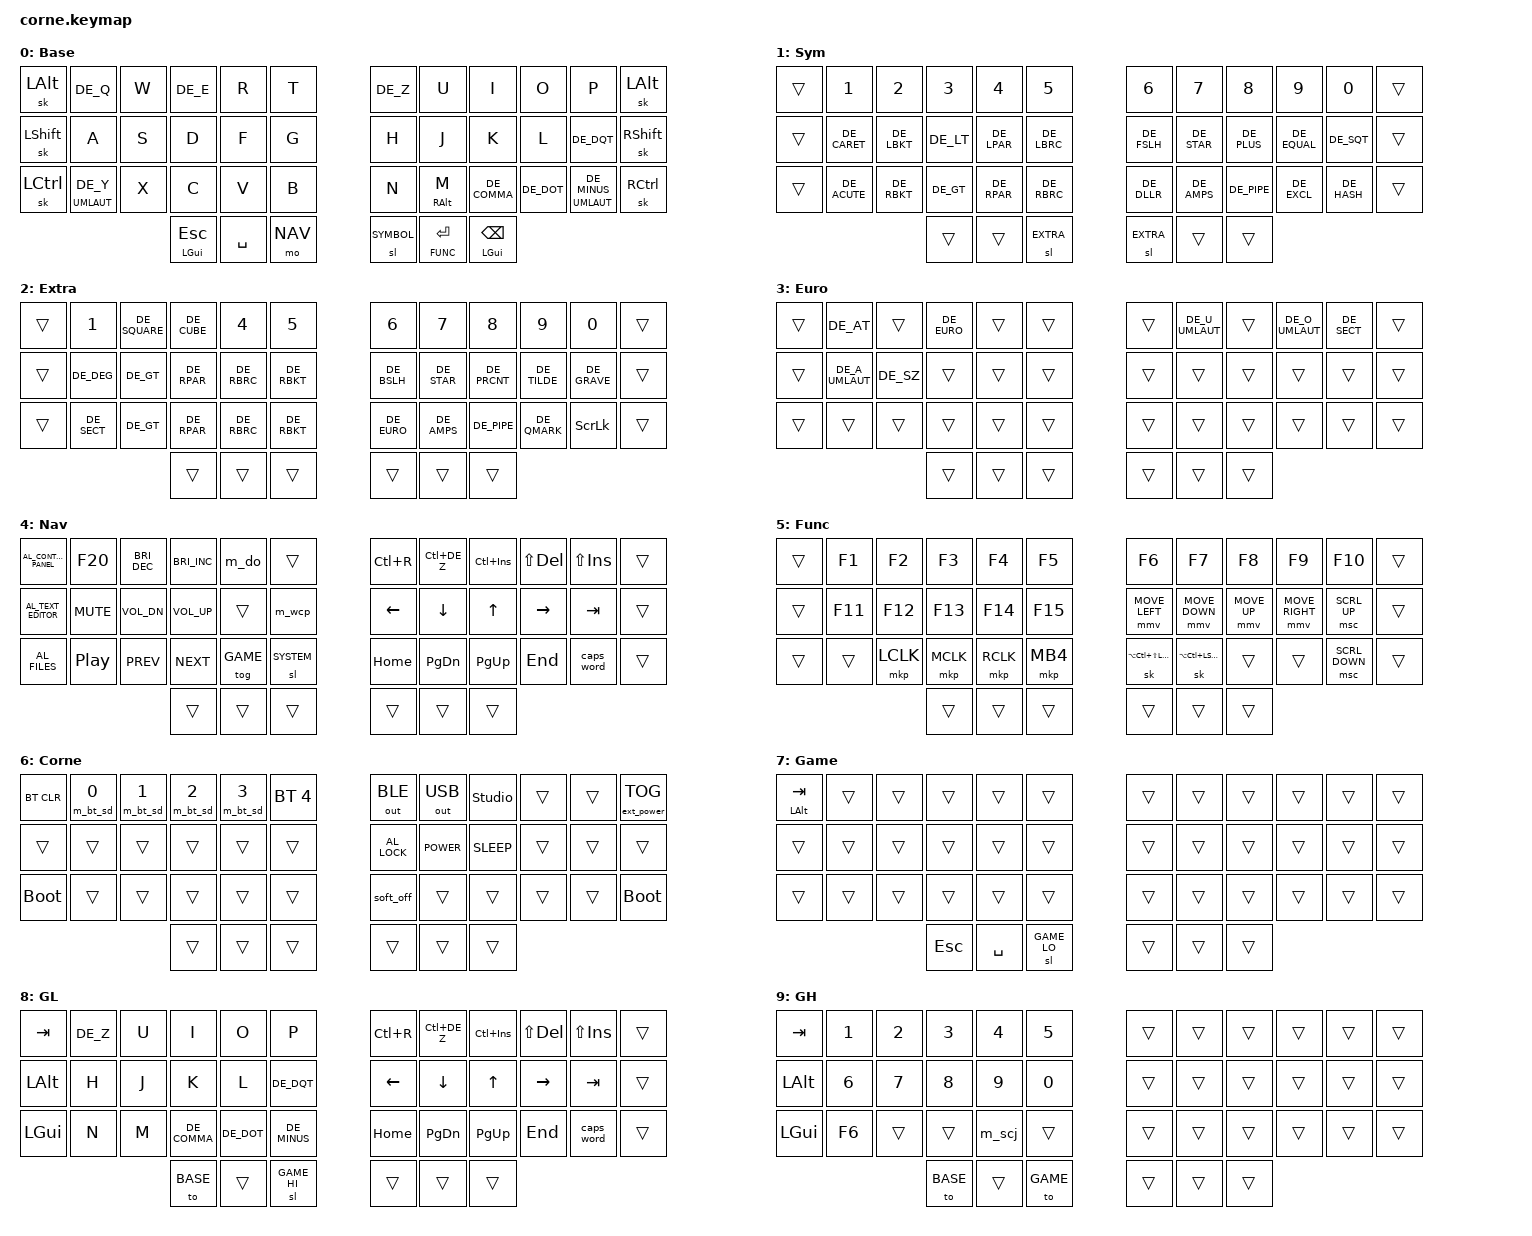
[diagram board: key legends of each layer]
/*
 * Copyright (c) 2023 Dafo with the golden Hair
 *
 * SPDX-License-Identifier: MIT
 */

#include <behaviors.dtsi>
#include <dt-bindings/zmk/keys.h>
#include <dt-bindings/zmk/bt.h>
#include <dt-bindings/zmk/ext_power.h>
#include <dt-bindings/zmk/outputs.h>
#include <dt-bindings/zmk/pointing.h>
#include "keys_de.h"

#define BASE 0
#define SYMBOL 1
#define EXTRA 2
#define UMLAUT 3
#define NAV 4
#define FUNC 5
#define MOUSE 6
#define SYSTEM 6
#define GAME 7
#define GAME_LO 8
#define GAME_HI 9 

#define HYPER LA(LC(LS(LGUI)))
#define MEH   LA(LC(LSHFT))

&sk {
    quick-release;
};
&sl {
    release-after-ms = <5000>;
};
&caps_word {
  continue-list = <DE_MINUS BSPC DEL>;
};

/ {
        behaviors {
            hs: home_row_mod_shift {
                  //label = "HOMEROW_MOD_SHIFT";
                  compatible = "zmk,behavior-hold-tap";
                  #binding-cells = <2>;
                  tapping-term-ms = <150>;
                  flavor = "tap-preferred";
                  bindings = <&kp>, <&kp>;
            };
            hm: home_row_mods {
                  compatible = "zmk,behavior-hold-tap";
                  label = "HOMEROW_MODS";
                  #binding-cells = <2>;
                  tapping-term-ms = <210>;
                  quick-tap-ms = <0>;
                  flavor = "tap-preferred";
                  bindings = <&kp>, <&kp>;
            };
            sm: hold_tap_sk_mo {
                  compatible = "zmk,behavior-hold-tap";
                  label = "HOLD_TAP_SK_MO";
                  #binding-cells = <2>;
                  tapping-term-ms = <300>;
                  bindings = <&mo>, <&sk>;
            };
        };
        macros {
            m_do: m_do {
               // label = "M_DOMAIN";
               compatible = "zmk,behavior-macro";
               #binding-cells = <0>;
               bindings
               = <&kp DE_E  &kp N6  &kp DE_Z  &kp N9  &kp R  &kp DE_DOT  &kp N  &kp DE_E  &kp T>
               ;
            };
            m_scj: m_scj {
               // label = "M_SATIS_CROUCH_JUMP";
               compatible = "zmk,behavior-macro";
               #binding-cells = <0>;
               bindings
               = <&macro_press &kp C>
               , <&macro_tap_time 300>
               , <&macro_tap &kp SPACE>
               , <&macro_wait_time 20>
               , <&macro_release &kp C>
               ;
            };
            m_wcp: m_wcp {
               label = "M_W_CHANGE_PHONE";
               compatible = "zmk,behavior-macro";
               #binding-cells = <0>;
               bindings 
               = <&macro_tap_time 120>
               , <&macro_tap &kp LGUI>
               , <&macro_tap &kp LC(LS(F12))>
               , <&macro_wait_time 150>
               , <&macro_tap &kp LG(N6)>
               ;
            };
            m_bt_sd: m_bt_sd {
               // label = "M_BT_SEL_AND_DISC";
               compatible = "zmk,behavior-macro-one-param";
               #binding-cells = <1>;
               bindings
               = <&macro_param_1to2>
               , <&bt BT_SEL MACRO_PLACEHOLDER>
               , <&macro_wait_time 200>
               , <&bt BT_DISC 4>
               ;
            };
        };
        keymap {
                compatible = "zmk,keymap";

                default_layer {
                    display-name = "Base";
// ---------------------------------------------------------------------------------------------
// | ALT       |  Q  |  W  |  E  |  R  |  T  | ### |  Z  |  U   |  I  |  O  |  P  | CAPS_WORD  |
// | TAB       |  A  |  S  |  D  |  F  |  G  | ### |  H  |  J   |  K  |  L  |  "  | sl SYMBOL  |
// | sl UMLAUT |  Y  |  X  |  C  |  V  |  B  | ### |  N  |  M   |  ,  |  .  |  -  | sl UMLAUT  |
//                         | BSP | SPC | LSH | ### | LCT | RET  | ESC |
                        bindings = <
   &sk LALT    &kp DE_Q         &kp W  &kp DE_E      &kp R        &kp T          &kp DE_Z    &kp U         &kp I          &kp O        &kp P                &sk LALT
   &sk LSHIFT  &kp A            &kp S  &kp D         &kp F        &kp G          &kp H       &kp J         &kp K          &kp L        &kp DE_DQT           &sk RSHFT
   &sk LCTRL   &lt UMLAUT DE_Y  &kp X  &kp C         &kp V        &kp B          &kp N       &hm RALT M    &kp DE_COMMA   &kp DE_DOT   &lt UMLAUT DE_MINUS  &sk RCTRL
                                       &hm LGUI ESC  &kp SPACE    &mo NAV        &sl SYMBOL  &lt FUNC RET  &hm LGUI BSPC
                        >;
                };
                symbols_layer {
                    display-name = "Sym";
// ------------------------------------------------------------------------------
// |    |  1  |  2  |  3  |  4  |  5  | ### |  6  |  7  |  8  |  9  |  0  |     |
// |    |  ^  |  [  |  <  |  (  |  {  | ### |  /  |  *  |  +  |  =  |  '  |     |
// |    |  ´  |  ]  |  >  |  )  |  }  | ### |  $  |  &  |  |  |  !  |  #  |     |
//                  | BSP | SPC | LSH | ### | LCT | RET | ESC |
                        bindings = <
   &trans  &kp N1        &kp N2       &kp N3     &kp N4        &kp N5             &kp N6       &kp N7       &kp N8       &kp N9        &kp N0       &trans
   &trans  &kp DE_CARET  &kp DE_LBKT  &kp DE_LT  &kp DE_LPAR   &kp DE_LBRC        &kp DE_FSLH  &kp DE_STAR  &kp DE_PLUS  &kp DE_EQUAL  &kp DE_SQT   &trans
   &trans  &kp DE_ACUTE  &kp DE_RBKT  &kp DE_GT  &kp DE_RPAR   &kp DE_RBRC        &kp DE_DLLR  &kp DE_AMPS  &kp DE_PIPE  &kp DE_EXCL   &kp DE_HASH  &trans
                                      &trans     &trans        &sl EXTRA          &sl EXTRA    &trans       &trans
                        >;
                };
                extra_layer {
                    display-name = "Extra";
// -----------------------------------------------------------------------------------
// |    |  1  |  ²  |  ³  |  4  |  5  | ### |  6  |  7  |  8  |  9  |  0           |     |
// |    |  °  |  <  |  )  |  {  |  ]  | ### |  \  |  *  |  %  |  ~  |  `           |     |
// |    |  §  |  >  |  )  |  }  |  ]  | ### |  €  |  µ  |  |  |  ?  |  ScrollLock  |     |
//                  | BSP | SPC | LSH | ### | LCT | RET | ESC |
                        bindings = <
   &trans  &kp N1       &kp DE_SQUARE &kp DE_CUBE  &kp N4       &kp N5             &kp N6       &kp N7       &kp N8        &kp N9        &kp N0        &trans
   &trans  &kp DE_DEG   &kp DE_GT     &kp DE_RPAR  &kp DE_RBRC  &kp DE_RBKT        &kp DE_BSLH  &kp DE_STAR  &kp DE_PRCNT  &kp DE_TILDE  &kp DE_GRAVE  &trans
   &trans  &kp DE_SECT  &kp DE_GT     &kp DE_RPAR  &kp DE_RBRC  &kp DE_RBKT        &kp DE_EURO  &kp DE_AMPS  &kp DE_PIPE   &kp DE_QMARK  &kp SLCK      &trans
                                      &trans       &trans       &trans             &trans       &trans       &trans
                        >;
                };
                umlaut_layer {
                    display-name = "Euro";
// --------------------------------------------------------------------------------
// |   |  @  |  @  |  €  |     |     | ### |     |  ü  |     |  ö  |  §  |      |
// |   |  ä  |  ß  |     |     |     | ### |     |     |     |     |     |      |
// |   |     |     |     |     |     | ### |     |     |     |     |     |      |
//                 | BSP | SPC | LSH | ### | LCT | RET | ESC |
                        bindings = <
   &trans  &kp DE_AT        &trans     &kp DE_EURO  &trans  &trans      &trans  &kp DE_U_UMLAUT  &trans   &kp DE_O_UMLAUT  &kp DE_SECT  &trans
   &trans  &kp DE_A_UMLAUT  &kp DE_SZ  &trans       &trans  &trans      &trans  &trans           &trans   &trans           &trans       &trans
   &trans  &trans           &trans     &trans       &trans  &trans      &trans  &trans           &trans   &trans           &trans       &trans
                                       &trans       &trans  &trans      &trans  &trans           &trans
                        >;
                };
                navigation_layer {
                    display-name = "Nav";
// ------------------------------------------------------------------------------------------
// |   |     |     |     | M domain |          | ### | REDO | UNDO  | COPY | CUT | PAST      |      |
// |   |     |     |     |          |          | ### |   <  |  v    |  ^   |  >  | TAB       |      |
// |   |     |     |     | L GAME   | L System | ### | HOME | PDOWN | PUP  | END | CAPS_WORD |      |
//                 |     |          |          | ### |      |       |      |
                        bindings = <
   &kp C_AL_CONTROL_PANEL   &kp F20     &kp C_BRI_DEC &kp C_BRI_INC &m_do      &trans            &kp LC(R)  &kp LC(DE_Z)  &kp LC(INS)  &kp LS(DEL)  &kp LS(INS)  &trans
   &kp C_AL_TEXT_EDITOR     &kp K_MUTE  &kp C_VOL_DN  &kp C_VOL_UP  &trans     &m_wcp            &kp LEFT   &kp DOWN      &kp UP       &kp RIGHT    &kp TAB      &trans
   &kp C_AL_FILES           &kp C_PP    &kp C_PREV    &kp C_NEXT    &tog GAME  &sl SYSTEM        &kp HOME   &kp PG_DN     &kp PG_UP    &kp END      &caps_word   &trans
                                                      &trans        &trans     &trans            &trans     &trans        &trans
                        >;
                };
                function_layer {
                    display-name = "Func";
// --------------------------------------------------------------------------------
// |   |  F1   |  F2   |  F3  | F4    |  F5   | ### |  F6       |  F7  |  F8   |  F9  |  F10  |      |
// |   |  F11  |  F12  |      |       |       | ### |           |      |       |      |       |      |
// |   |       |       |      |       |       | ### |  Hyper    |  MEH |       |      |       |      |
//                     | BSP  | SPC   |  LSH  | ### |  LCT      | RET  | ESC   |
                        bindings = <
   &trans   &kp F1   &kp F2     &kp F3     &kp F4     &kp F5          &kp F6          &kp F7          &kp F8         &kp F9           &kp F10         &trans
   &trans   &kp F11  &kp F12    &kp F13    &kp F14    &kp F15         &mmv MOVE_LEFT  &mmv MOVE_DOWN  &mmv MOVE_UP   &mmv MOVE_RIGHT  &msc SCRL_UP    &trans
   &trans   &trans   &mkp LCLK  &mkp MCLK  &mkp RCLK  &mkp MB4        &sk HYPER       &sk MEH         &trans         &trans           &msc SCRL_DOWN  &trans
                                &trans     &trans     &trans          &trans          &trans          &trans
                        >;
                };
                system_layer {
                    display-name = "Corne";
// -----------------------------------------------------------------------------------------
// | BTCLR| BT1 | BT2 | BT3 | BT4 | BT5 |   | ### |     |     |     |     |      |
// |      |     |     |     |     |     |   | ### |     |     |     |     |      |
// |      |     |     |     |     |     |   | ### |     |     |     |     |      |
//                    |     |     |     |   | ### |     |     |
                        bindings = <
   &bt BT_CLR   &m_bt_sd 0    &m_bt_sd 1    &m_bt_sd 2    &m_bt_sd 3    &bt BT_SEL 4           &out OUT_BLE   &out OUT_USB  &studio_unlock  &trans  &trans  &ext_power EP_TOG
   &trans       &trans        &trans        &trans        &trans        &trans                 &kp C_AL_LOCK  &kp C_POWER   &kp C_SLEEP     &trans  &trans  &trans
   &bootloader  &trans        &trans        &trans        &trans        &trans                 &soft_off      &trans        &trans          &trans  &trans  &bootloader
                                            &trans        &trans        &trans                 &trans         &trans        &trans
                        >;
                };
                game_layer {
                    display-name = "Game";
// -----------------------------------------------------------------------------------------
// |  TAB    |     |     |     |       |     | ### |     |     |     |     |     |      |
// |  M_SCJ  |  A  |  S  |  D  |  F    |  G  | ### |     |     |     |     |     |      |
// |         |     |     |     |       |     | ### |     |     |     |     |     |      |
//                       |     | SPACE |     | ### |     |     |     |
                        bindings = <
   &hm LALT TAB &trans  &trans  &trans   &trans     &trans           &trans  &trans  &trans  &trans  &trans  &trans
   &trans       &trans  &trans  &trans   &trans     &trans           &trans  &trans  &trans  &trans  &trans  &trans
   &trans       &trans  &trans  &trans   &trans     &trans           &trans  &trans  &trans  &trans  &trans  &trans
                                &kp ESC  &kp SPACE  &sl GAME_LO      &trans  &trans  &trans
                        >;
                };
                game_lower_layer {
                    display-name = "GL";
// -----------------------------------------------------------------------------------------
// |  TAB  |     |     |        |        |     | ### |     |     |     |     |     |      |
// |  ALT  |  A  |  S  |  D     |  F     |  G  | ### |     |     |     |     |     |      |
// |  GUI  |     |     |        |  M     |  N  | ### |     |     |     |     |     |      |
//                     | L GAME |  m_scj |     | ### |     |     |     |
                        bindings = <
   &kp TAB   &kp DE_Z  &kp U   &kp I         &kp O       &kp P             &kp LC(R)  &kp LC(DE_Z)  &kp LC(INS)  &kp LS(DEL)  &kp LS(INS) &trans
   &kp LALT  &kp H     &kp J   &kp K         &kp L       &kp DE_DQT        &kp LEFT   &kp DOWN      &kp UP       &kp RIGHT    &kp TAB     &trans
   &kp LGUI  &kp N     &kp M   &kp DE_COMMA  &kp DE_DOT  &kp DE_MINUS      &kp HOME   &kp PG_DN     &kp PG_UP    &kp END      &caps_word  &trans
                               &to BASE      &trans      &sl GAME_HI       &trans  &trans  &trans
                        >;
                };
                game_higher_layer {
                    display-name = "GH";
// -----------------------------------------------------------------------------------------
// |  TAB  |  1  |  2  |  3     |  4     |  5  | ### |     |     |     |     |     |      |
// |  ALT  |  6  |  7  |  8     |  9     |  0  | ### |     |     |     |     |     |      |
// |  GUI  |  §  |     |        |  m_scj |     | ### |     |     |     |     |     |      |
//                     | L GAME |  m_scj |     | ### |     |     |     |
                        bindings = <
   &kp TAB   &kp N1  &kp N2  &kp N3     &kp N4   &kp N5          &trans  &trans  &trans  &trans  &trans  &trans
   &kp LALT  &kp N6  &kp N7  &kp N8     &kp N9   &kp N0          &trans  &trans  &trans  &trans  &trans  &trans
   &kp LGUI  &kp F6  &trans  &trans     &m_scj   &trans          &trans  &trans  &trans  &trans  &trans  &trans
                             &to BASE   &trans   &to GAME        &trans  &trans  &trans
                        >;
                };
        };
};

// TODO:
// [ ] Mouse Assist Layer
// [X] Mouse Movement Layer (now supported by zmk, but not working correctly)
// [x] Media Key Layer
// [x] Gaming Layer
// [x] Navigration Layer
// [x] Function Key Layer
// [x] Macro for domain name
// [x] Fix System Layer
